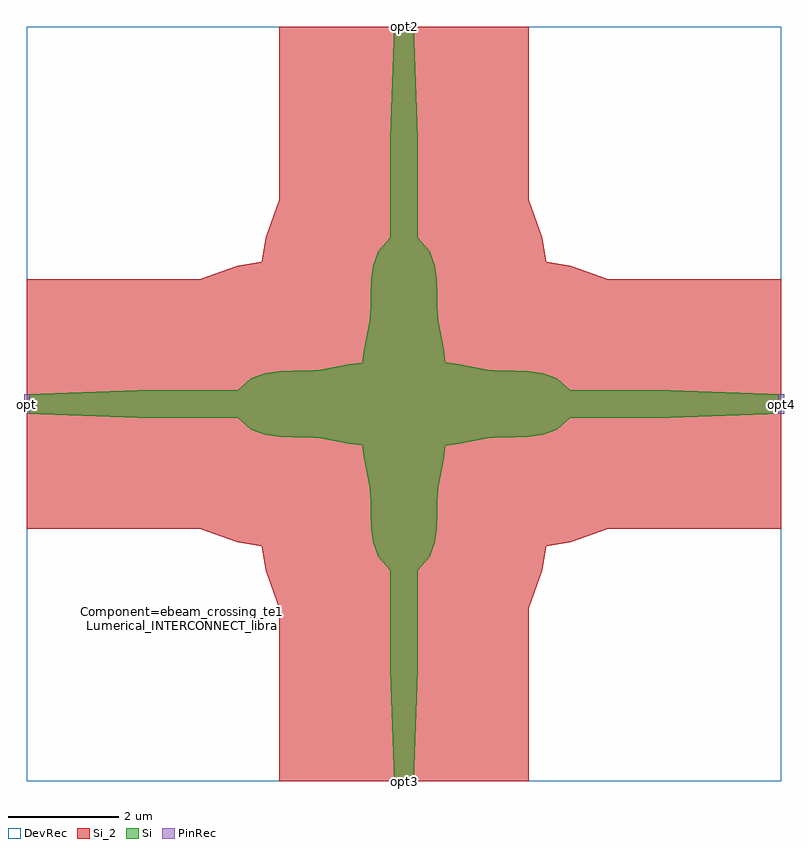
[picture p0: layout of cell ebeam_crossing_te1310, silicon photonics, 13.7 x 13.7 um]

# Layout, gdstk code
import gdstk
lib = gdstk.Library(unit=1e-6, precision=1e-09)
def R(c, l, rs):  # rectangles x0, y0, x1, y1
    for r in rs: c.add(gdstk.rectangle(r[:2], r[2:], *l))
def P(c, l, *ps):  # polygons
    for p in ps: c.add(gdstk.Polygon(p, *l))
Si = (1, 0)
Si_2 = (1, 2)
PinRec = (1, 10)
DevRec = (68, 0)

ebeam_crossing_te1310 = lib.new_cell('ebeam_crossing_te1310')
P(ebeam_crossing_te1310, Si, [(-4.8,-0.25),(-6.8,-0.175),(-6.8,0.175),(-4.8,0.25)],
  [(4.8,-0.25),(4.8,0.25),(6.8,0.175),(6.8,-0.175)],
  [(-0.25,4.8),(-0.175,6.8),(0.175,6.8),(0.25,4.8)],
  [(-0.175,-6.8),(-0.25,-4.8),(0.25,-4.8),(0.175,-6.8)],
  [(-0.25,-4.8),(-0.25,-3),(-0.46,-2.75),(-0.55,-2.5),(-0.59,-2.25),(-0.6,-2),(-0.6,-1.75),(-0.62,-1.5),(-0.72,-1),(-0.75,-0.74),(-1,-0.72),(-1.5,-0.62),(-1.75,-0.6),(-2,-0.6),(-2.25,-0.59),(-2.5,-0.55),(-2.75,-0.46),(-3,-0.25),(-4.8,-0.25),(-4.8,0.25),(-3,0.25),(-2.75,0.46),(-2.5,0.55),(-2.25,0.59),(-2,0.6),(-1.75,0.6),(-1.5,0.62),(-1,0.72),(-0.75,0.74),(-0.72,1),(-0.62,1.5),(-0.6,1.75),(-0.6,2),(-0.59,2.25),(-0.55,2.5),(-0.46,2.75),(-0.25,3),(-0.25,4.8),(0.25,4.8),(0.25,3),(0.46,2.75),(0.55,2.5),(0.59,2.25),(0.6,2),(0.6,1.75),(0.62,1.5),(0.72,1),(0.74,0.75),(1,0.72),(1.5,0.62),(1.75,0.6),(2,0.6),(2.25,0.59),(2.5,0.55),(2.75,0.46),(3,0.25),(4.8,0.25),(4.8,-0.25),(3,-0.25),(2.75,-0.46),(2.5,-0.55),(2.25,-0.59),(2,-0.6),(1.75,-0.6),(1.5,-0.62),(1,-0.72),(0.74,-0.75),(0.72,-1),(0.62,-1.5),(0.6,-1.75),(0.6,-2),(0.59,-2.25),(0.55,-2.5),(0.46,-2.75),(0.25,-3),(0.25,-4.8)])
P(ebeam_crossing_te1310, Si_2, [(-2.25,-6.8),(-2.25,-3.682),(-2.495,-3.001),(-2.565,-2.565),(-3.001,-2.495),(-3.682,-2.25),(-6.8,-2.25),(-6.8,2.25),(-3.682,2.25),(-3.001,2.495),(-2.565,2.565),(-2.495,3.001),(-2.25,3.682),(-2.25,6.8),(2.25,6.8),(2.25,3.682),(2.495,3.001),(2.565,2.565),(3.001,2.495),(3.682,2.25),(6.8,2.25),(6.8,-2.25),(3.682,-2.25),(3.001,-2.495),(2.565,-2.565),(2.495,-3.001),(2.25,-3.682),(2.25,-6.8)])
R(ebeam_crossing_te1310, DevRec, [(-6.8,-6.8,6.8,6.8)])
ebeam_crossing_te1310.add(gdstk.FlexPath([(-6.75,0),(-6.85,0)], 0.35, ends="flush", simple_path=True, layer=1, datatype=10))  # PinRec
ebeam_crossing_te1310.add(gdstk.FlexPath([(6.75,0),(6.85,0)], 0.35, ends="flush", simple_path=True, layer=1, datatype=10))  # PinRec
ebeam_crossing_te1310.add(gdstk.FlexPath([(0,-6.75),(0,-6.85)], 0.35, ends="flush", simple_path=True, layer=1, datatype=10))  # PinRec
ebeam_crossing_te1310.add(gdstk.FlexPath([(0,6.75),(0,6.85)], 0.35, ends="flush", simple_path=True, layer=1, datatype=10))  # PinRec
ebeam_crossing_te1310.add(gdstk.Label('opt', (-6.8,0), layer=1, texttype=10))
ebeam_crossing_te1310.add(gdstk.Label('opt4', (6.8,0), layer=1, texttype=10))
ebeam_crossing_te1310.add(gdstk.Label('opt3', (0,-6.8), layer=1, texttype=10))
ebeam_crossing_te1310.add(gdstk.Label('opt2', (0,6.8), layer=1, texttype=10))
ebeam_crossing_te1310.add(gdstk.Label('Component=ebeam_crossing_te1310', (-4,-3.74), layer=68, texttype=0))
ebeam_crossing_te1310.add(gdstk.Label('Lumerical_INTERCONNECT_library=Design kits/SiEPICfab_EBeam', (-4,-4), layer=68, texttype=0))

lib.write_gds('ebeam_crossing_te1310.gds')
